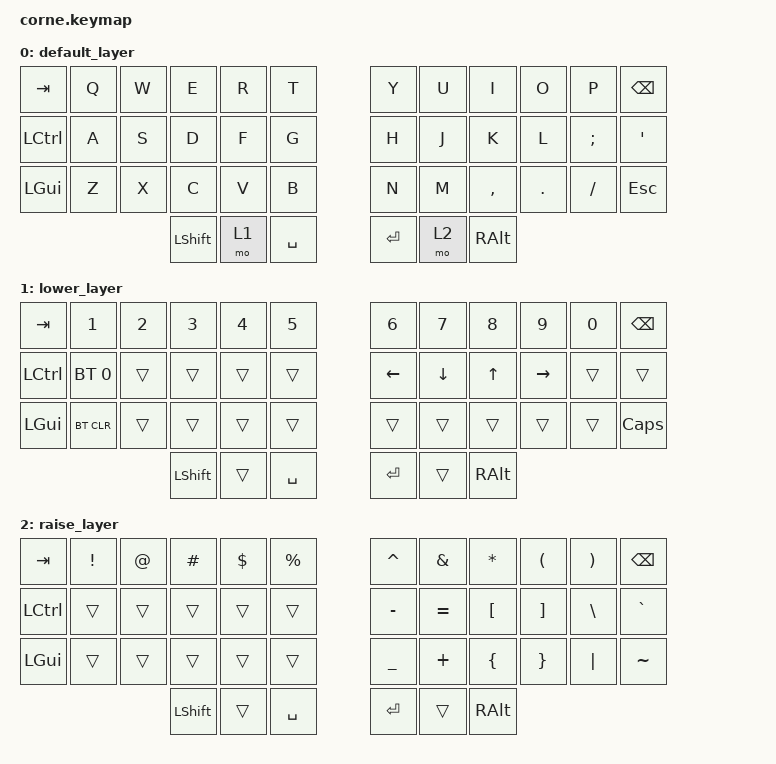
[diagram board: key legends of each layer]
/*
 * Copyright (c) 2020 The ZMK Contributors
 *
 * SPDX-License-Identifier: MIT
 */

#include <behaviors.dtsi>
#include <dt-bindings/zmk/bt.h>
#include <dt-bindings/zmk/keys.h>
#include <dt-bindings/zmk/rgb.h>
#include <dt-bindings/zmk/ext_power.h>



&led_strip {
    // chain-length = <0>;

    chain-length = <27>;

    // 21 backlight + 6 glowlight
};

/ {
    keymap {
        compatible = "zmk,keymap";

        default_layer {
            // -----------------------------------------------------------------------------------------
            // |  TAB |  Q  |  W  |  E  |  R  |  T  |   |  Y  |  U   |  I  |  O  |  P  | BSPC |
            // | CTRL |  A  |  S  |  D  |  F  |  G  |   |  H  |  J   |  K  |  L  |  ;  |  '   |
            // | SHFT |  Z  |  X  |  C  |  V  |  B  |   |  N  |  M   |  ,  |  .  |  /  | ESC  |
            //                    | GUI | LWR | SPC |   | ENT | RSE  | ALT |

            bindings = <
&kp TAB       &kp Q  &kp W  &kp E           &kp R  &kp T        &kp Y    &kp U  &kp I      &kp O    &kp P     &kp BSPC
&kp LCTRL     &kp A  &kp S  &kp D           &kp F  &kp G        &kp H    &kp J  &kp K      &kp L    &kp SEMI  &kp SQT
&kp LEFT_GUI  &kp Z  &kp X  &kp C           &kp V  &kp B        &kp N    &kp M  &kp COMMA  &kp DOT  &kp FSLH  &kp ESC
                            &kp LEFT_SHIFT  &mo 1  &kp SPACE    &kp RET  &mo 2  &kp RALT
            >;
        };

        lower_layer {
            // -----------------------------------------------------------------------------------------
            // |  TAB |  1  |  2  |  3  |  4  |  5  |   |  6  |  7  |  8  |  9  |  0  | BSPC |
            // | BTCLR| BT1 | BT2 | BT3 | BT4 | BT5 |   | LFT | DWN |  UP | RGT |     |      |
            // | SHFT |     |     |     |     |     |   |     |     |     |     |     |      |
            //                    | GUI |     | SPC |   | ENT |     | ALT |

            bindings = <
&kp TAB     &kp N1        &kp N2        &kp N3        &kp N4        &kp N5          &kp N6    &kp N7    &kp N8    &kp N9     &kp N0  &kp BSPC
&kp LCTRL  &bt BT_SEL 0  &trans  &trans  &trans  &trans    &kp LEFT  &kp DOWN  &kp UP    &kp RIGHT  &trans  &trans
&kp LGUI   &bt BT_CLR        &trans        &trans        &trans        &trans          &trans    &trans    &trans    &trans     &trans  &kp CAPSLOCK
                                        &kp LSHIFT      &trans        &kp SPACE       &kp RET   &trans    &kp RALT
            >;
        };

        raise_layer {
            // -----------------------------------------------------------------------------------------
            // |  TAB |  !  |  @  |  #  |  $  |  %  |   |  ^  |  &  |  *  |  (  |  )  | BSPC |
            // | CTRL |     |     |     |     |     |   |  -  |  =  |  [  |  ]  |  \  |  `   |
            // | SHFT |     |     |     |     |     |   |  _  |  +  |  {  |  }  | "|" |  ~   |
            //                    | GUI |     | SPC |   | ENT |     | ALT |

            bindings = <
&kp TAB    &kp EXCL  &kp AT  &kp HASH  &kp DLLR  &kp PRCNT    &kp CARET  &kp AMPS   &kp ASTRK  &kp LPAR  &kp RPAR  &kp BSPC
&kp LCTRL  &trans    &trans  &trans    &trans    &trans       &kp MINUS  &kp EQUAL  &kp LBKT   &kp RBKT  &kp BSLH  &kp GRAVE
&kp LGUI  &trans    &trans  &trans    &trans    &trans       &kp UNDER  &kp PLUS   &kp LBRC   &kp RBRC  &kp PIPE  &kp TILDE
                             &kp LSHIFT  &trans    &kp SPACE    &kp RET    &trans     &kp RALT
            >;
        };
    };
};
